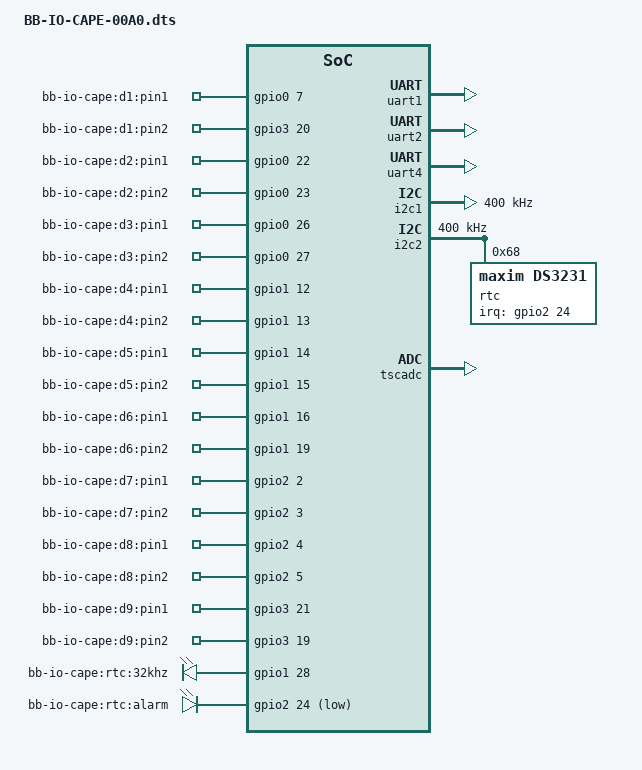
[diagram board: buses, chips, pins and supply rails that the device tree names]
/*
 * BB-IO-CAPE Device Tree Overlay
 *
 * BeagleBone Black I/O Cape with Grove-compatible connectors
 *
 * Features:
 *   - DS3231MZ Real-Time Clock on I2C2 (0x68)
 *   - CAT24C256 EEPROM on I2C2 (0x54-0x57, configurable via DIP switch)
 *   - 3x UART (UART1, UART2, UART4)
 *   - 2x I2C (I2C1, I2C2 exposed via Grove connectors)
 *   - 6x Analog inputs (AIN0-6)
 *   - 18x GPIO pins (9 digital connectors, 2 pins each)
 *   - RTC 32KHz clock output and alarm interrupt
 *
 * Copyright (c) 2026, Andrew C. Young
 * SPDX-License-Identifier: MIT
 *
 * Pin configuration bits (AM335X):
 *   Bit 6: Slew rate (0=fast, 1=slow)
 *   Bit 5: Input enable (0=output, 1=input)
 *   Bit 4: Pull select (0=pulldown, 1=pullup)
 *   Bit 3: Pull enable (0=enabled, 1=disabled)
 *   Bits 2-0: Mux mode (0-7)
 *
 * Common configurations:
 *   0x00 = Output, pulldown, mode 0
 *   0x20 = Input, pulldown, mode 0
 *   0x30 = Input, pullup, mode 0
 *   0x07 = Output, pulldown, mode 7 (GPIO)
 *   0x37 = Input, pullup, mode 7 (GPIO)
 *   0x27 = Input, pulldown, mode 7 (GPIO)
 */

/dts-v1/;
/plugin/;

#include <dt-bindings/gpio/gpio.h>
#include <dt-bindings/interrupt-controller/irq.h>

/ {
	compatible = "ti,beaglebone", "ti,beaglebone-black", "ti,beaglebone-green";

	/* Identification */
	part-number = "BB-IO-CAPE";
	version = "00A0";

	/*
	 * Pin usage exclusions - prevent conflicts with other capes/overlays
	 */
	exclusive-use =
		/* UART1 */
		"P9.24",	/* uart1_txd */
		"P9.26",	/* uart1_rxd */
		/* UART2 */
		"P9.21",	/* uart2_txd */
		"P9.22",	/* uart2_rxd */
		/* UART4 */
		"P9.11",	/* uart4_rxd */
		"P9.13",	/* uart4_txd */
		/* I2C1 */
		"P9.17",	/* i2c1_scl */
		"P9.18",	/* i2c1_sda */
		/* I2C2 (also used for cape EEPROM) */
		"P9.19",	/* i2c2_scl */
		"P9.20",	/* i2c2_sda */
		/* Analog inputs */
		"P9.33",	/* ain4 */
		"P9.35",	/* ain6 */
		"P9.36",	/* ain5 */
		"P9.37",	/* ain2 */
		"P9.38",	/* ain3 */
		"P9.39",	/* ain0 */
		/* Digital GPIO - D1 */
		"P9.41",	/* gpio3_20 (GPIO 116) */
		"P9.42",	/* gpio0_7 (GPIO 7) */
		/* Digital GPIO - D2 */
		"P8.13",	/* gpio0_23 (GPIO 23) */
		"P8.19",	/* gpio0_22 (GPIO 22) */
		/* Digital GPIO - D3 */
		"P8.14",	/* gpio0_26 (GPIO 26) */
		"P8.17",	/* gpio0_27 (GPIO 27) */
		/* Digital GPIO - D4 */
		"P8.11",	/* gpio1_13 (GPIO 45) */
		"P8.12",	/* gpio1_12 (GPIO 44) */
		/* Digital GPIO - D5 */
		"P8.15",	/* gpio1_15 (GPIO 47) */
		"P8.16",	/* gpio1_14 (GPIO 46) */
		/* Digital GPIO - D6 */
		"P9.15",	/* gpio1_16 (GPIO 48) */
		"P9.16",	/* gpio1_19 (GPIO 51) */
		/* Digital GPIO - D7 */
		"P8.7",		/* gpio2_2 (GPIO 66) */
		"P8.8",		/* gpio2_3 (GPIO 67) */
		/* Digital GPIO - D8 */
		"P8.9",		/* gpio2_5 (GPIO 69) */
		"P8.10",	/* gpio2_4 (GPIO 68) */
		/* Digital GPIO - D9 */
		"P9.25",	/* gpio3_21 (GPIO 117) */
		"P9.27",	/* gpio3_19 (GPIO 115) */
		/* RTC signals */
		"P9.12",	/* gpio1_28 (GPIO 60) - RTC 32KHz clock output */
		"P8.28",	/* gpio2_24 (GPIO 88) - RTC alarm interrupt (active low) */
		/* Peripheral names */
		"uart1",
		"uart2",
		"uart4",
		"i2c1",
		"i2c2",
		"tscadc";

	/*
	 * Fragment 0: Pin mux configuration for UART1
	 * P9.24 = uart1_txd (mode 0) - offset 0x184
	 * P9.26 = uart1_rxd (mode 0) - offset 0x180
	 */
	fragment@0 {
		target = <&am33xx_pinmux>;
		__overlay__ {
			bb_io_cape_uart1_pins: pinmux_bb_io_cape_uart1_pins {
				pinctrl-single,pins = <
					0x184 0x00	/* P9.24 uart1_txd - output, pulldown, mode 0 */
					0x180 0x30	/* P9.26 uart1_rxd - input, pullup, mode 0 */
				>;
			};
		};
	};

	/*
	 * Fragment 1: Enable UART1
	 */
	fragment@1 {
		target = <&uart1>;
		__overlay__ {
			status = "okay";
			pinctrl-names = "default";
			pinctrl-0 = <&bb_io_cape_uart1_pins>;
		};
	};

	/*
	 * Fragment 2: Pin mux configuration for UART2
	 * P9.21 = uart2_txd (mode 1) - offset 0x154 (spi0_d0)
	 * P9.22 = uart2_rxd (mode 1) - offset 0x150 (spi0_sclk)
	 */
	fragment@2 {
		target = <&am33xx_pinmux>;
		__overlay__ {
			bb_io_cape_uart2_pins: pinmux_bb_io_cape_uart2_pins {
				pinctrl-single,pins = <
					0x154 0x01	/* P9.21 uart2_txd - output, pulldown, mode 1 */
					0x150 0x31	/* P9.22 uart2_rxd - input, pullup, mode 1 */
				>;
			};
		};
	};

	/*
	 * Fragment 3: Enable UART2
	 */
	fragment@3 {
		target = <&uart2>;
		__overlay__ {
			status = "okay";
			pinctrl-names = "default";
			pinctrl-0 = <&bb_io_cape_uart2_pins>;
		};
	};

	/*
	 * Fragment 4: Pin mux configuration for UART4
	 * P9.11 = uart4_rxd (mode 6) - offset 0x070 (gpmc_wait0)
	 * P9.13 = uart4_txd (mode 6) - offset 0x074 (gpmc_wpn)
	 */
	fragment@4 {
		target = <&am33xx_pinmux>;
		__overlay__ {
			bb_io_cape_uart4_pins: pinmux_bb_io_cape_uart4_pins {
				pinctrl-single,pins = <
					0x070 0x36	/* P9.11 uart4_rxd - input, pullup, mode 6 */
					0x074 0x06	/* P9.13 uart4_txd - output, pulldown, mode 6 */
				>;
			};
		};
	};

	/*
	 * Fragment 5: Enable UART4
	 */
	fragment@5 {
		target = <&uart4>;
		__overlay__ {
			status = "okay";
			pinctrl-names = "default";
			pinctrl-0 = <&bb_io_cape_uart4_pins>;
		};
	};

	/*
	 * Fragment 6: Pin mux configuration for I2C1
	 * P9.17 = i2c1_scl (mode 2) - offset 0x15c (spi0_cs0)
	 * P9.18 = i2c1_sda (mode 2) - offset 0x158 (spi0_d1)
	 */
	fragment@6 {
		target = <&am33xx_pinmux>;
		__overlay__ {
			bb_io_cape_i2c1_pins: pinmux_bb_io_cape_i2c1_pins {
				pinctrl-single,pins = <
					0x15c 0x32	/* P9.17 i2c1_scl - input, pullup, mode 2 */
					0x158 0x32	/* P9.18 i2c1_sda - input, pullup, mode 2 */
				>;
			};
		};
	};

	/*
	 * Fragment 7: Enable I2C1
	 */
	fragment@7 {
		target = <&i2c1>;
		__overlay__ {
			status = "okay";
			pinctrl-names = "default";
			pinctrl-0 = <&bb_io_cape_i2c1_pins>;
			clock-frequency = <400000>;

			#address-cells = <1>;
			#size-cells = <0>;
		};
	};

	/*
	 * Fragment 8: Pin mux configuration for I2C2
	 * P9.19 = i2c2_scl (mode 3) - offset 0x17c (uart1_rtsn -> i2c2_scl)
	 * P9.20 = i2c2_sda (mode 3) - offset 0x178 (uart1_ctsn -> i2c2_sda)
	 * Note: I2C2 is typically enabled by default for cape EEPROM
	 */
	fragment@8 {
		target = <&am33xx_pinmux>;
		__overlay__ {
			bb_io_cape_i2c2_pins: pinmux_bb_io_cape_i2c2_pins {
				pinctrl-single,pins = <
					0x17c 0x33	/* P9.19 i2c2_scl - input, pullup, mode 3 */
					0x178 0x33	/* P9.20 i2c2_sda - input, pullup, mode 3 */
				>;
			};
		};
	};

	/*
	 * Fragment 9: Pin mux for RTC signals
	 * P9.12 (GPIO 60) = 32KHz clock output from DS3231MZ - offset 0x078 (gpmc_ben1)
	 * P8.28 (GPIO 88) = Alarm interrupt (active low) - offset 0x0e8 (lcd_pclk)
	 */
	fragment@9 {
		target = <&am33xx_pinmux>;
		__overlay__ {
			bb_io_cape_rtc_pins: pinmux_bb_io_cape_rtc_pins {
				pinctrl-single,pins = <
					0x078 0x2f	/* P9.12 GPIO 60 - input, no pull, mode 7 (32KHz clock) */
					0x0e8 0x37	/* P8.28 GPIO 88 - input, pullup, mode 7 (alarm, active low) */
				>;
			};
		};
	};

	/*
	 * Fragment 10: Configure I2C2 and add RTC device
	 * DS3231MZ RTC at address 0x68 with interrupt on GPIO 88
	 */
	fragment@10 {
		target = <&i2c2>;
		__overlay__ {
			status = "okay";
			pinctrl-names = "default";
			pinctrl-0 = <&bb_io_cape_i2c2_pins>;
			clock-frequency = <400000>;

			#address-cells = <1>;
			#size-cells = <0>;

			/* DS3231MZ Real-Time Clock */
			rtc@68 {
				compatible = "maxim,ds3231";
				reg = <0x68>;
				#clock-cells = <1>;
				/* Alarm interrupt on GPIO 88 (gpio2_24), active low */
				interrupt-parent = <&gpio2>;
				interrupts = <24 IRQ_TYPE_LEVEL_LOW>;
			};
		};
	};

	/*
	 * Fragment 11: Pin mux configuration for GPIO pins (D1-D9 connectors)
	 * All configured as GPIO mode 7, output with pull-down
	 */
	fragment@11 {
		target = <&am33xx_pinmux>;
		__overlay__ {
			bb_io_cape_gpio_pins: pinmux_bb_io_cape_gpio_pins {
				pinctrl-single,pins = <
					/* D1: P9.42 (GPIO 7), P9.41 (GPIO 116) */
					0x164 0x07	/* P9.42 ecap0_in_pwm0_out - GPIO 7, output */
					0x1b4 0x07	/* P9.41 xdma_event_intr1 - GPIO 116, output */

					/* D2: P8.19 (GPIO 22), P8.13 (GPIO 23) */
					0x020 0x07	/* P8.19 gpmc_ad8 - GPIO 22, output */
					0x024 0x07	/* P8.13 gpmc_ad9 - GPIO 23, output */

					/* D3: P8.14 (GPIO 26), P8.17 (GPIO 27) */
					0x028 0x07	/* P8.14 gpmc_ad10 - GPIO 26, output */
					0x02c 0x07	/* P8.17 gpmc_ad11 - GPIO 27, output */

					/* D4: P8.12 (GPIO 44), P8.11 (GPIO 45) */
					0x030 0x07	/* P8.12 gpmc_ad12 - GPIO 44, output */
					0x034 0x07	/* P8.11 gpmc_ad13 - GPIO 45, output */

					/* D5: P8.16 (GPIO 46), P8.15 (GPIO 47) */
					0x038 0x07	/* P8.16 gpmc_ad14 - GPIO 46, output */
					0x03c 0x07	/* P8.15 gpmc_ad15 - GPIO 47, output */

					/* D6: P9.15 (GPIO 48), P9.16 (GPIO 51) */
					0x040 0x07	/* P9.15 gpmc_a0 - GPIO 48, output */
					0x04c 0x07	/* P9.16 gpmc_a3 - GPIO 51, output */

					/* D7: P8.7 (GPIO 66), P8.8 (GPIO 67) */
					0x090 0x07	/* P8.7 gpmc_advn_ale - GPIO 66, output */
					0x094 0x07	/* P8.8 gpmc_oen_ren - GPIO 67, output */

					/* D8: P8.10 (GPIO 68), P8.9 (GPIO 69) */
					0x098 0x07	/* P8.10 gpmc_wen - GPIO 68, output */
					0x09c 0x07	/* P8.9 gpmc_be0n_cle - GPIO 69, output */

					/* D9: P9.25 (GPIO 117), P9.27 (GPIO 115) */
					0x1ac 0x07	/* P9.25 mcasp0_ahclkx - GPIO 117, output */
					0x1a4 0x07	/* P9.27 mcasp0_fsr - GPIO 115, output */
				>;
			};
		};
	};

	/*
	 * Fragment 12: Enable the ADC for analog inputs
	 * A1: AIN0 (P9.39), AIN4 (P9.33)
	 * A2: AIN2 (P9.37), AIN6 (P9.35)
	 * A3: AIN3 (P9.38), AIN5 (P9.36)
	 */
	fragment@12 {
		target = <&tscadc>;
		__overlay__ {
			status = "okay";

			adc {
				ti,adc-channels = <0 2 3 4 5 6>;
				ti,chan-step-avg = <16 16 16 16 16 16>;
				ti,chan-step-opendelay = <0x98 0x98 0x98 0x98 0x98 0x98>;
				ti,chan-step-sampledelay = <0x0 0x0 0x0 0x0 0x0 0x0>;
			};
		};
	};

	/*
	 * Fragment 13: Create GPIO helper node for userspace access
	 * This exports the GPIO pins used by digital connectors and RTC signals
	 */
	fragment@13 {
		target-path = "/";
		__overlay__ {
			bb_io_cape_gpios {
				compatible = "gpio-leds";
				pinctrl-names = "default";
				pinctrl-0 = <&bb_io_cape_gpio_pins &bb_io_cape_rtc_pins>;

				/*
				 * Note: These are defined as "leds" for simplicity,
				 * but they function as general-purpose GPIO pins.
				 * Access via /sys/class/gpio/ or /sys/class/leds/
				 */

				/* D1 connector */
				d1_pin1 {
					label = "bb-io-cape:d1:pin1";
					gpios = <&gpio0 7 GPIO_ACTIVE_HIGH>;
					default-state = "off";
				};

				d1_pin2 {
					label = "bb-io-cape:d1:pin2";
					gpios = <&gpio3 20 GPIO_ACTIVE_HIGH>;
					default-state = "off";
				};

				/* D2 connector */
				d2_pin1 {
					label = "bb-io-cape:d2:pin1";
					gpios = <&gpio0 22 GPIO_ACTIVE_HIGH>;
					default-state = "off";
				};

				d2_pin2 {
					label = "bb-io-cape:d2:pin2";
					gpios = <&gpio0 23 GPIO_ACTIVE_HIGH>;
					default-state = "off";
				};

				/* D3 connector */
				d3_pin1 {
					label = "bb-io-cape:d3:pin1";
					gpios = <&gpio0 26 GPIO_ACTIVE_HIGH>;
					default-state = "off";
				};

				d3_pin2 {
					label = "bb-io-cape:d3:pin2";
					gpios = <&gpio0 27 GPIO_ACTIVE_HIGH>;
					default-state = "off";
				};

				/* D4 connector */
				d4_pin1 {
					label = "bb-io-cape:d4:pin1";
					gpios = <&gpio1 12 GPIO_ACTIVE_HIGH>;
					default-state = "off";
				};

				d4_pin2 {
					label = "bb-io-cape:d4:pin2";
					gpios = <&gpio1 13 GPIO_ACTIVE_HIGH>;
					default-state = "off";
				};

				/* D5 connector */
				d5_pin1 {
					label = "bb-io-cape:d5:pin1";
					gpios = <&gpio1 14 GPIO_ACTIVE_HIGH>;
					default-state = "off";
				};

				d5_pin2 {
					label = "bb-io-cape:d5:pin2";
					gpios = <&gpio1 15 GPIO_ACTIVE_HIGH>;
					default-state = "off";
				};

				/* D6 connector */
				d6_pin1 {
					label = "bb-io-cape:d6:pin1";
					gpios = <&gpio1 16 GPIO_ACTIVE_HIGH>;
					default-state = "off";
				};

				d6_pin2 {
					label = "bb-io-cape:d6:pin2";
					gpios = <&gpio1 19 GPIO_ACTIVE_HIGH>;
					default-state = "off";
				};

				/* D7 connector */
				d7_pin1 {
					label = "bb-io-cape:d7:pin1";
					gpios = <&gpio2 2 GPIO_ACTIVE_HIGH>;
					default-state = "off";
				};

				d7_pin2 {
					label = "bb-io-cape:d7:pin2";
					gpios = <&gpio2 3 GPIO_ACTIVE_HIGH>;
					default-state = "off";
				};

				/* D8 connector */
				d8_pin1 {
					label = "bb-io-cape:d8:pin1";
					gpios = <&gpio2 4 GPIO_ACTIVE_HIGH>;
					default-state = "off";
				};

				d8_pin2 {
					label = "bb-io-cape:d8:pin2";
					gpios = <&gpio2 5 GPIO_ACTIVE_HIGH>;
					default-state = "off";
				};

				/* D9 connector */
				d9_pin1 {
					label = "bb-io-cape:d9:pin1";
					gpios = <&gpio3 21 GPIO_ACTIVE_HIGH>;
					default-state = "off";
				};

				d9_pin2 {
					label = "bb-io-cape:d9:pin2";
					gpios = <&gpio3 19 GPIO_ACTIVE_HIGH>;
					default-state = "off";
				};

				/*
				 * RTC signals from DS3231MZ
				 */

				/* 32KHz clock output from RTC (P9.12, GPIO 60) */
				rtc_32khz {
					label = "bb-io-cape:rtc:32khz";
					gpios = <&gpio1 28 GPIO_ACTIVE_HIGH>;
					default-state = "off";
				};

				/* Alarm interrupt from RTC (P8.28, GPIO 88) - active low */
				rtc_alarm {
					label = "bb-io-cape:rtc:alarm";
					gpios = <&gpio2 24 GPIO_ACTIVE_LOW>;
					default-state = "off";
				};
			};
		};
	};
};
